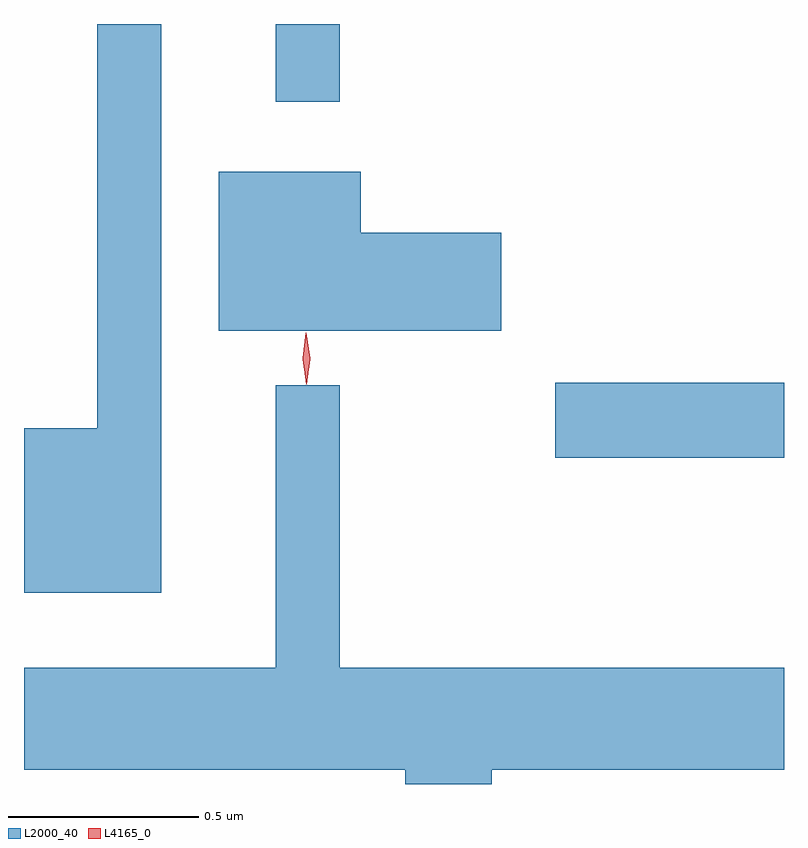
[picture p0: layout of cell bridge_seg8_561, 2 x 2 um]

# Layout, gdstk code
import gdstk
lib = gdstk.Library(unit=1e-6, precision=1e-09)
def R(c, l, rs):  # rectangles x0, y0, x1, y1
    for r in rs: c.add(gdstk.rectangle(r[:2], r[2:], *l))
def P(c, l, *ps):  # polygons
    for p in ps: c.add(gdstk.Polygon(p, *l))
L2000_40 = (2000, 40)
L4165_0 = (4165, 0)

bridge_seg8_561 = lib.new_cell('bridge_seg8_561')
R(bridge_seg8_561, L2000_40, [(564.176,1870.536,564.778,1870.734), (563.441,1871.473,563.609,1871.678)])
P(bridge_seg8_561, L2000_40, [(563.139,1871.678),(562.971,1871.678),(562.971,1870.614),(562.778,1870.614),(562.778,1870.181),(563.139,1870.181)],
  [(564.034,1871.129),(563.664,1871.129),(563.664,1871.289),(563.291,1871.289),(563.291,1870.871),(564.034,1870.871)],
  [(564.009,1869.716),(564.778,1869.716),(564.778,1869.984),(563.609,1869.984),(563.609,1870.728),(563.441,1870.728),(563.441,1869.984),(562.778,1869.984),(562.778,1869.716),(563.781,1869.716),(563.781,1869.678),(564.009,1869.678)])
P(bridge_seg8_561, L4165_0, [(563.521,1870.733),(563.511,1870.796),(563.52,1870.859),(563.521,1870.86),(563.521,1870.859),(563.531,1870.796),(563.522,1870.733),(563.522,1870.733)],
  [(563.521,1870.73),(563.511,1870.798),(563.52,1870.866),(563.521,1870.866),(563.521,1870.866),(563.531,1870.798),(563.522,1870.73),(563.522,1870.73)])

lib.write_gds('bridge_seg8_561.gds')
